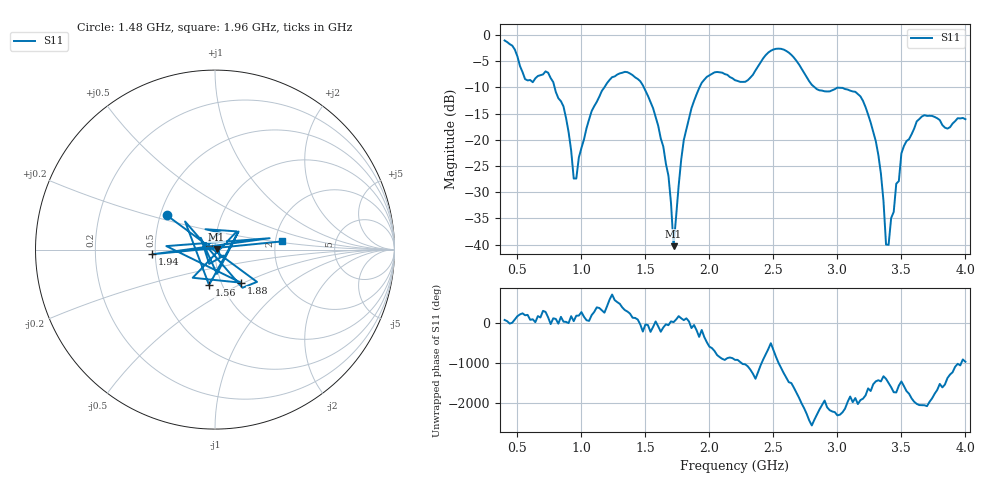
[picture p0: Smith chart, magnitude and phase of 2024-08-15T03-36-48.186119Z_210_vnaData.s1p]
!Created with skrf (http://scikit-rf.org).
# Hz S RI R 50.0
!freq ReS11 ImS11
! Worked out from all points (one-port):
!   181 points, 400 MHz to 4 GHz, reference 50 ohm
!   lowest |S11| = -40.3 dB at 1.72 GHz (marker M1), VSWR 1.02, Z = 50.9 + j0.334 ohm
!   |S11| at or under -10 dB: 790.6 MHz to 1.18 GHz (389.1 MHz wide, 39.5 % of centre); 1.488 GHz to 1.923 GHz (435 MHz wide, 25.5 % of centre); 2.823 GHz to end of sweep
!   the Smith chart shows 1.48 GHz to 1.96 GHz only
!   S11 on the Smith chart (normalised r, x): 1.48 GHz: 0.54, +0.23; 1.56 GHz: 0.87, -0.36; 1.88 GHz: 1.24, -0.48; 1.94 GHz: 0.48, -0.03; 1.96 GHz: 2.16, +0.23
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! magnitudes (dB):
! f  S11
! 400 MHz  -1.1
! 560 MHz  -8.4
! 740 MHz  -7.2
! 860 MHz  -13.6
! 960 MHz  -27.4
! 1.08 GHz  -14.5
! 1.3 GHz  -7.3
! 1.48 GHz  -9.6
! 1.56 GHz  -14.0
! 1.68 GHz  -26.9
! 1.72 GHz  -40.3
! 1.76 GHz  -28.7
! 1.8 GHz  -20.0
! 1.88 GHz  -12.6
! 1.94 GHz  -9.1
! 1.96 GHz  -8.5
! 2.2 GHz  -8.6
! 2.5 GHz  -2.8
! 2.66 GHz  -4.3
! 2.84 GHz  -10.4
! 3.1 GHz  -10.6
! 3.3 GHz  -20.3
! 3.34 GHz  -26.5
! 3.38 GHz  -40.0
! 3.5 GHz  -22.6
! 3.56 GHz  -19.9
! 3.68 GHz  -15.3
! 4 GHz  -16.1
